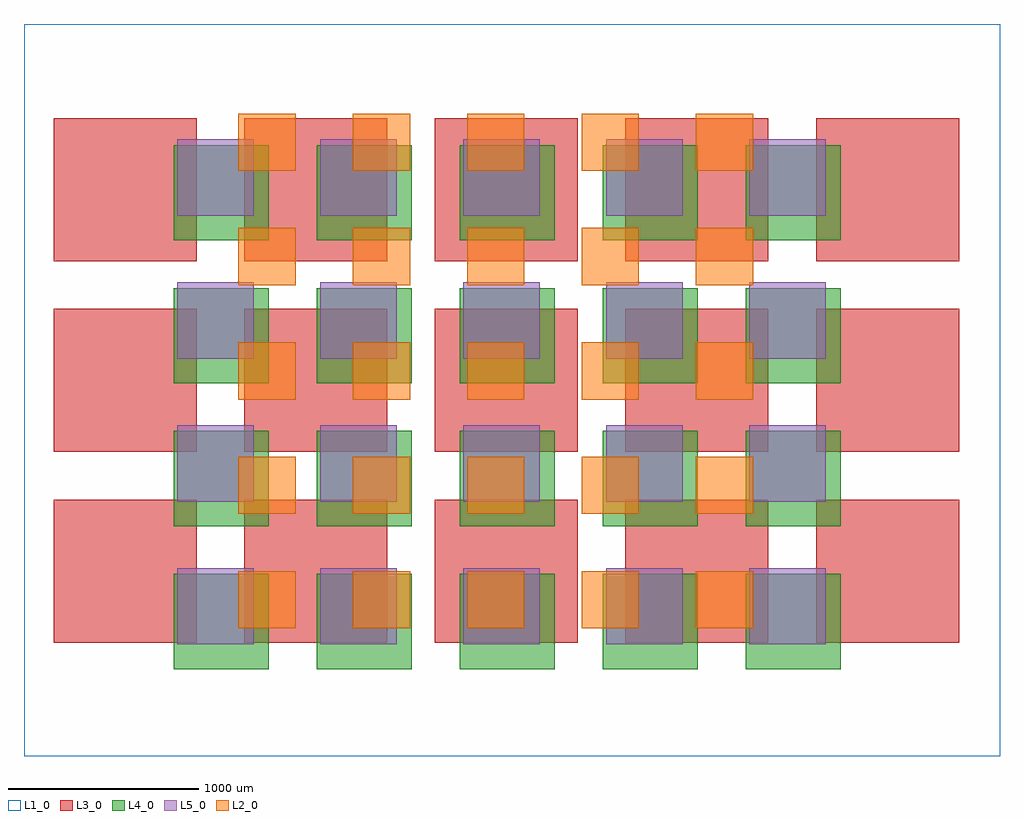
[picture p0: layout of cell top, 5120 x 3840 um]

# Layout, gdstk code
import gdstk
lib = gdstk.Library(unit=1e-6, precision=5e-06)
def R(c, l, rs):  # rectangles x0, y0, x1, y1
    for r in rs: c.add(gdstk.rectangle(r[:2], r[2:], *l))
def A(c, l, x, y, w, h, nx, ny, dx, dy):  # array of equal rectangles
    R(c, l, [(x+i*dx, y+j*dy, x+i*dx+w, y+j*dy+h) for i in range(nx) for j in range(ny)])
L1_0 = (1, 0)
L2_0 = (2, 0)
L3_0 = (3, 0)
L4_0 = (4, 0)
L5_0 = (5, 0)

top = lib.new_cell('top')
R(top, L1_0, [(0,0,5120,3840)])
A(top, L2_0, 1125, 670, 300, 300, 5, 5, 600, 600)
A(top, L3_0, 155, 595, 750, 750, 5, 3, 1000, 1000)
A(top, L4_0, 785, 455, 500, 500, 5, 4, 750, 750)
A(top, L5_0, 805, 585, 400, 400, 5, 4, 750, 750)

lib.write_gds('top.gds')
